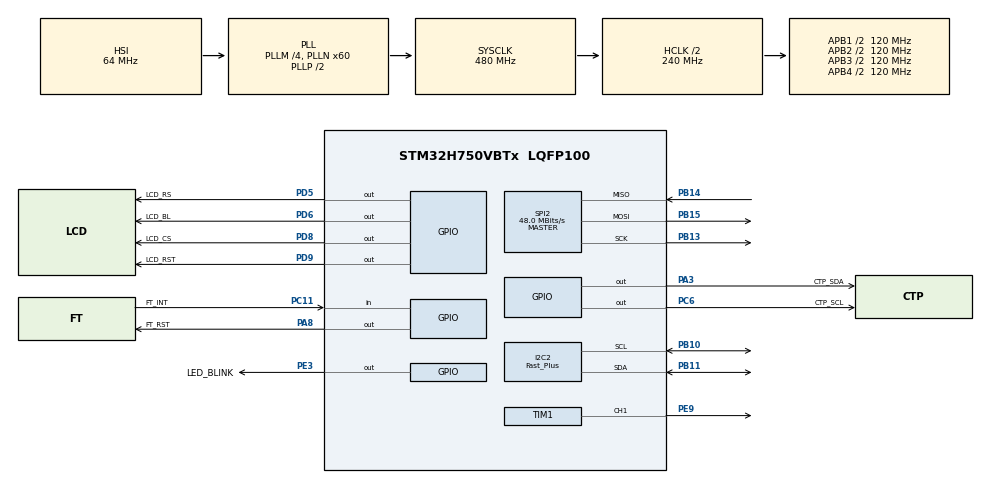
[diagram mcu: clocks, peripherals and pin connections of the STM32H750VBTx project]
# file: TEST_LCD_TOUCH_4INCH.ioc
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CORTEX_M7.AccessPermission_S-Cortex_Memory_Protection_Unit_Region1_Settings_S=MPU_REGION_FULL_ACCESS
CORTEX_M7.AccessPermission_Spec=MPU_REGION_FULL_ACCESS
CORTEX_M7.BaseAddress_S-Cortex_Memory_Protection_Unit_Region1_Settings_S=0x90000000
CORTEX_M7.BaseAddress_Spec=0x90000000
CORTEX_M7.CPU_DCache=Enabled
CORTEX_M7.CPU_ICache=Enabled
CORTEX_M7.Enable_S-Cortex_Memory_Protection_Unit_Region1_Settings_S=MPU_REGION_ENABLE
CORTEX_M7.IsBufferable_S-Cortex_Memory_Protection_Unit_Region1_Settings_S=MPU_ACCESS_BUFFERABLE
CORTEX_M7.IsBufferable_Spec=MPU_ACCESS_BUFFERABLE
CORTEX_M7.IsCacheable_S-Cortex_Memory_Protection_Unit_Region1_Settings_S=MPU_ACCESS_CACHEABLE
CORTEX_M7.IsCacheable_Spec=MPU_ACCESS_CACHEABLE
CORTEX_M7.IsShareable_Spec=MPU_ACCESS_NOT_SHAREABLE
CORTEX_M7.Size_S-Cortex_Memory_Protection_Unit_Region1_Settings_S=MPU_REGION_SIZE_1MB
CORTEX_M7.Size_Spec=MPU_REGION_SIZE_8MB
CORTEX_M7.SubRegionDisable_S-Cortex_Memory_Protection_Unit_Region1_Settings_S=0
CORTEX_M7.SubRegionDisable_Spec=0
CORTEX_M7.default_mode_Activation=1
Dma.Request0=SPI2_TX
Dma.SPI2_TX.0.Direction=DMA_MEMORY_TO_PERIPH
Dma.SPI2_TX.0.EventEnable=DISABLE
Dma.SPI2_TX.0.FIFOMode=DMA_FIFOMODE_DISABLE
Dma.SPI2_TX.0.Instance=DMA1_Stream0
Dma.SPI2_TX.0.MemDataAlignment=DMA_MDATAALIGN_BYTE
Dma.SPI2_TX.0.MemInc=DMA_MINC_ENABLE
Dma.SPI2_TX.0.Mode=DMA_NORMAL
Dma.SPI2_TX.0.PeriphDataAlignment=DMA_PDATAALIGN_BYTE
Dma.SPI2_TX.0.PeriphInc=DMA_PINC_DISABLE
Dma.SPI2_TX.0.Polarity=HAL_DMAMUX_REQ_GEN_RISING
Dma.SPI2_TX.0.Priority=DMA_PRIORITY_VERY_HIGH
Dma.SPI2_TX.0.RequestNumber=1
Dma.SPI2_TX.0.SignalID=NONE
Dma.SPI2_TX.0.SyncEnable=DISABLE
Dma.SPI2_TX.0.SyncPolarity=HAL_DMAMUX_SYNC_NO_EVENT
Dma.SPI2_TX.0.SyncRequestNumber=1
Dma.SPI2_TX.0.SyncSignalID=NONE
FREERTOS.Tasks01=Task_UI,24,4096,UI_Task_Func,Default,NULL,Dynamic,NULL,NULL;Task_Robot,40,2048,RobotControlTask,Default,NULL,Dynamic,NULL,NULL
FREERTOS.configTOTAL_HEAP_SIZE=65536
FREERTOS.configUSE_NEWLIB_REENTRANT=1
I2C2.I2C_Speed_Mode=I2C_Fast_Plus
I2C2.Timing=0x0050174F
Mcu.Family=STM32H7
Mcu.Name=STM32H750VBTx
Mcu.Package=LQFP100
NVIC.DMA1_Stream0_IRQn=true\:5\:0\:false\:false\:true\:true\:false\:true\:true
NVIC.PriorityGroup=NVIC_PRIORITYGROUP_4
NVIC.SPI2_IRQn=true\:5\:0\:false\:false\:true\:true\:false\:true\:true
NVIC.TIM6_DAC_IRQn=true\:5\:0\:true\:false\:true\:false\:false\:true\:true
NVIC.TimeBase=TIM6_DAC_IRQn
NVIC.TimeBaseIP=TIM6
PA13\ (JTMS/SWDIO).Mode=Serial_Wire
PA13\ (JTMS/SWDIO).Signal=DEBUG_JTMS-SWDIO
PA14\ (JTCK/SWCLK).Mode=Serial_Wire
PA14\ (JTCK/SWCLK).Signal=DEBUG_JTCK-SWCLK
PA3.GPIO_Label=CTP_SDA
PA3.GPIO_PuPd=GPIO_PULLUP
PA3.GPIO_Speed=GPIO_SPEED_FREQ_VERY_HIGH
PA3.PinState=GPIO_PIN_SET
PA3.Signal=GPIO_Output
PA8.GPIO_Label=FT_RST
PA8.GPIO_PuPd=GPIO_NOPULL
PA8.PinState=GPIO_PIN_SET
PA8.Signal=GPIO_Output
PB10.GPIO_Pu=GPIO_PULLUP
PB10.GPIO_Speed=GPIO_SPEED_FREQ_VERY_HIGH
PB10.Mode=I2C
PB10.Signal=I2C2_SCL
PB11.GPIO_Pu=GPIO_PULLUP
PB11.GPIO_Speed=GPIO_SPEED_FREQ_VERY_HIGH
PB11.Mode=I2C
PB11.Signal=I2C2_SDA
PB13.GPIO_Speed=GPIO_SPEED_FREQ_VERY_HIGH
PB13.Mode=Full_Duplex_Master
PB13.Signal=SPI2_SCK
PB14.GPIO_Speed=GPIO_SPEED_FREQ_VERY_HIGH
PB14.Mode=Full_Duplex_Master
PB14.Signal=SPI2_MISO
PB15.GPIO_Speed=GPIO_SPEED_FREQ_VERY_HIGH
PB15.Mode=Full_Duplex_Master
PB15.Signal=SPI2_MOSI
PC11.GPIO_Label=FT_INT
PC11.GPIO_PuPd=GPIO_PULLUP
PC11.Signal=GPIO_Input
PC6.GPIO_Label=CTP_SCL
PC6.GPIO_PuPd=GPIO_PULLUP
PC6.GPIO_Speed=GPIO_SPEED_FREQ_VERY_HIGH
PC6.PinState=GPIO_PIN_SET
PC6.Signal=GPIO_Output
PD5.GPIO_Label=LCD_RS
PD5.GPIO_Speed=GPIO_SPEED_FREQ_VERY_HIGH
PD5.PinState=GPIO_PIN_SET
PD5.Signal=GPIO_Output
PD6.GPIO_Label=LCD_BL
PD6.GPIO_Speed=GPIO_SPEED_FREQ_VERY_HIGH
PD6.PinState=GPIO_PIN_SET
PD6.Signal=GPIO_Output
PD8.GPIO_Label=LCD_CS
PD8.GPIO_Speed=GPIO_SPEED_FREQ_VERY_HIGH
PD8.PinState=GPIO_PIN_SET
PD8.Signal=GPIO_Output
PD9.GPIO_Label=LCD_RST
PD9.GPIO_Speed=GPIO_SPEED_FREQ_VERY_HIGH
PD9.PinState=GPIO_PIN_SET
PD9.Signal=GPIO_Output
PE3.GPIO_Label=LED_BLINK
PE3.Signal=GPIO_Output
PE9.Signal=S_TIM1_CH1
PH0-OSC_IN\ (PH0).Mode=HSE-External-Oscillator
PH0-OSC_IN\ (PH0).Signal=RCC_OSC_IN
PH1-OSC_OUT\ (PH1).Mode=HSE-External-Oscillator
PH1-OSC_OUT\ (PH1).Signal=RCC_OSC_OUT
ProjectManager.HeapSize=0x200
ProjectManager.StackSize=0x400
ProjectManager.TargetToolchain=STM32CubeIDE
RCC.ADCFreq_Value=129000000
RCC.APB1Freq_Value=120000000
RCC.APB2Freq_Value=120000000
RCC.APB3Freq_Value=120000000
RCC.APB4Freq_Value=120000000
RCC.CortexFreq_Value=480000000
RCC.D1PPRE=RCC_APB3_DIV2
RCC.D2PPRE1=RCC_APB1_DIV2
RCC.D2PPRE2=RCC_APB2_DIV2
RCC.D3PPRE=RCC_APB4_DIV2
RCC.DIVM1=4
RCC.DIVN1=60
RCC.DIVQ1=5
RCC.HCLKFreq_Value=240000000
RCC.HPRE=RCC_HCLK_DIV2
RCC.PLL2FRACN=0
RCC.PLL3FRACN=0
RCC.PLLFRACN=0
RCC.SYSCLKFreq_VALUE=480000000
RCC.SYSCLKSource=RCC_SYSCLKSOURCE_PLLCLK
RCC.USBFreq_Value=192000000
SH.S_TIM1_CH1.0=TIM1_CH1,PWM Generation1 CH1
SPI2.BaudRatePrescaler=SPI_BAUDRATEPRESCALER_4
SPI2.CLKPhase=SPI_PHASE_1EDGE
SPI2.CLKPolarity=SPI_POLARITY_LOW
SPI2.CalculateBaudRate=48.0 MBits/s
SPI2.DataSize=SPI_DATASIZE_8BIT
SPI2.Direction=SPI_DIRECTION_2LINES
SPI2.Mode=SPI_MODE_MASTER
SPI2.VirtualType=VM_MASTER
TIM1.AutoReloadPreload=TIM_AUTORELOAD_PRELOAD_ENABLE
TIM1.Channel-PWM\ Generation1\ CH1=TIM_CHANNEL_1
TIM1.Period=19999
TIM1.Prescaler=239
VP_FREERTOS_VS_CMSIS_V2.Mode=CMSIS_V2
VP_MEMORYMAP_VS_MEMORYMAP.Mode=CurAppReg
VP_SYS_VS_tim6.Mode=TIM6
VP_TIM1_VS_ClockSourceINT.Mode=Internal
board=custom

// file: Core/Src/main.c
/* USER CODE BEGIN Header */
/**
  ******************************************************************************
  * @file           : main.c
  * @brief          : Main program body
  ******************************************************************************
  * @attention
  *
  * Copyright (c) 2025 STMicroelectronics.
  * All rights reserved.
  *
  * This software is licensed under terms that can be found in the LICENSE file
  * in the root directory of this software component.
  * If no LICENSE file comes with this software, it is provided AS-IS.
  *
  ******************************************************************************
  */
/* USER CODE END Header */
#include "main.h"
#include "cmsis_os.h"
#include "dma.h"
#include "i2c.h"
#include "spi.h"
#include "tim.h"
#include "gpio.h"

/* USER CODE BEGIN Includes */
#include "lcd.h"
#include "touch.h"
#include "lvgl.h"          // Thư viện lõi
#include "lv_port_disp.h"  // Cấu hình màn hình
#include "lv_examples.h"  // Ví dụ LVGL
#include "lv_port_indev.h" // Cấu hình input device
#include "ui.h"           // Giao diện người dùng tùy chỉnh
#include <stdbool.h>
/* USER CODE END Includes */

/* USER CODE BEGIN PTD */
#define USE_LV_PORT_DISP 1
/* USER CODE END PTD */

void SystemClock_Config(void);
static void MPU_Config(void);
void MX_FREERTOS_Init(void);

/* USER CODE BEGIN 0 */
extern TIM_HandleTypeDef htim1;
/* USER CODE BEGIN 0 */

// Biến đếm số lần bấm
static int cnt = 0;
static lv_obj_t * label;

/* Hàm xử lý sự kiện khi bấm nút */
static void event_handler(lv_event_t * e)
{
    lv_event_code_t code = lv_event_get_code(e);

    // Nếu nhận được sự kiện CLICK (Bấm và nhả)
    if(code == LV_EVENT_CLICKED) {
        cnt++;

        // Cập nhật text cho Label
        lv_label_set_text_fmt(label, "Da Bam: %d", cnt);

        // (Tùy chọn) In log ra debug
        // printf("Button clicked: %d\n", cnt);
    }
}

bool is_Auto_Running = false;
int current_angle = 0;

// Hàm điều khiển servo
void Set_Servo_Angle(int angle)
{
    if(angle < 0) angle = 0;
    if(angle > 180) angle = 180;

    // Tính toán giá trị CCR dựa trên góc
    // Giả sử 0 độ tương ứng với CCR = 1000 và 180 độ tương ứng với CCR = 2000
    uint32_t pulse = 500 + (angle * 2000 / 180);

    __HAL_TIM_SET_COMPARE(&htim1, TIM_CHANNEL_1, pulse);
    current_angle = angle;
}

void Auto_Mode_1()
{
   Set_Servo_Angle(30);
   osDelay(500);
   Set_Servo_Angle(150);
   osDelay(500);
   Set_Servo_Angle(90);
}

void Auto_Mode_2()
{
   Set_Servo_Angle(90);
   osDelay(500);
   Set_Servo_Angle(0);
   osDelay(500);
   Set_Servo_Angle(180);
   osDelay(500);
}

void Auto_Mode_3()
{
   for(int angle = 0; angle <= 180; angle += 10)
   {
       Set_Servo_Angle(angle);
       osDelay(200);
   }
   for(int angle = 180; angle >= 0; angle -= 10)
   {
       Set_Servo_Angle(angle);
       osDelay(200);
   }
}

void Write_Led_PE3(int state)
{
    // Mạch WeAct: Mức 0 là SÁNG, Mức 1 là TẮT (Ngược đời tí)
    // Nếu sếp dùng LED ngoài cắm dây thì ngược lại (1 Sáng, 0 Tắt)
    // Sếp cứ test thử, nếu ngược thì đảo chỗ GPIO_PIN_RESET/SET lại là được.

    if (state == 1) {
        HAL_GPIO_WritePin(LED_BLINK_GPIO_Port, LED_BLINK_Pin, GPIO_PIN_RESET); // Bật LED (Active Low)
    } else {
        HAL_GPIO_WritePin(LED_BLINK_GPIO_Port, LED_BLINK_Pin, GPIO_PIN_SET);   // Tắt LED
    }
}

/* USER CODE END 0 */

int main(void)
{

  /* MPU Configuration--------------------------------------------------------*/
  MPU_Config();

  /* Enable the CPU Cache */

  /* Enable I-Cache---------------------------------------------------------*/
  SCB_EnableICache();

  /* Enable D-Cache---------------------------------------------------------*/
  SCB_EnableDCache();

  /* MCU Configuration--------------------------------------------------------*/

  /* Reset of all peripherals, Initializes the Flash interface and the Systick. */
  HAL_Init();

  /* Configure the system clock */
  SystemClock_Config();

  /* Initialize all configured peripherals */
  MX_GPIO_Init();
  MX_DMA_Init();
  MX_SPI2_Init();
  MX_I2C2_Init();
  MX_TIM1_Init();
  /* USER CODE BEGIN 2 */
    HAL_TIM_PWM_Start(&htim1, TIM_CHANNEL_1); // Bắt đầu PWM cho servo
  __HAL_TIM_MOE_ENABLE(&htim1);
  lv_init();               // Khởi tạo LVGL
  lv_port_disp_init();     // Khởi tạo màn hình
  lv_port_indev_init();    // Khởi tạo thiết bị nhập (cảm ứng)
  ui_init();              // Khởi tạo giao diện người dùng
  //lv_example_keyboard_1();   // Chạy ví dụ LVGL
  //lv_example_btn_11();      // Chạy ví dụ LVGL
  //lv_example_menu_1();      // Chạy ví dụ LVGL
  //lv_example_tabview_1();   // Chạy ví dụ LVGL
  //lv_example_spinner_1();  // Chạy ví dụ LVGL
  //lv_example_button_3();  // Chạy ví dụ LVGL

  /* USER CODE END 2 */

  /* Init scheduler */
  osKernelInitialize();  /* Call init function for freertos objects (in cmsis_os2.c) */
  MX_FREERTOS_Init();

  /* Start scheduler */
  osKernelStart();

  /* We should never get here as control is now taken by the scheduler */

  /* Infinite loop */
  /* USER CODE BEGIN WHILE */
  while (1)
  {
  //  lv_timer_handler(); // Xử lý LVGL
  //  HAL_Delay(5);
    /* USER CODE END WHILE */

  }
}

void SystemClock_Config(void)
{
  RCC_OscInitTypeDef RCC_OscInitStruct = {0};
  RCC_ClkInitTypeDef RCC_ClkInitStruct = {0};

  /** Supply configuration update enable
  */
  HAL_PWREx_ConfigSupply(PWR_LDO_SUPPLY);

  /** Configure the main internal regulator output voltage
  */
  __HAL_PWR_VOLTAGESCALING_CONFIG(PWR_REGULATOR_VOLTAGE_SCALE0);

  while(!__HAL_PWR_GET_FLAG(PWR_FLAG_VOSRDY)) {}

  /** Initializes the RCC Oscillators according to the specified parameters
  * in the RCC_OscInitTypeDef structure.
  */
  RCC_OscInitStruct.OscillatorType = RCC_OSCILLATORTYPE_HSI;
  RCC_OscInitStruct.HSIState = RCC_HSI_DIV1;
  RCC_OscInitStruct.HSICalibrationValue = RCC_HSICALIBRATION_DEFAULT;
  RCC_OscInitStruct.PLL.PLLState = RCC_PLL_ON;
  RCC_OscInitStruct.PLL.PLLSource = RCC_PLLSOURCE_HSI;
  RCC_OscInitStruct.PLL.PLLM = 4;
  RCC_OscInitStruct.PLL.PLLN = 60;
  RCC_OscInitStruct.PLL.PLLP = 2;
  RCC_OscInitStruct.PLL.PLLQ = 5;
  RCC_OscInitStruct.PLL.PLLR = 2;
  RCC_OscInitStruct.PLL.PLLRGE = RCC_PLL1VCIRANGE_3;
  RCC_OscInitStruct.PLL.PLLVCOSEL = RCC_PLL1VCOWIDE;
  RCC_OscInitStruct.PLL.PLLFRACN = 0;
  if (HAL_RCC_OscConfig(&RCC_OscInitStruct) != HAL_OK)
  {
    Error_Handler();
  }

  /** Initializes the CPU, AHB and APB buses clocks
  */
  RCC_ClkInitStruct.ClockType = RCC_CLOCKTYPE_HCLK|RCC_CLOCKTYPE_SYSCLK
                              |RCC_CLOCKTYPE_PCLK1|RCC_CLOCKTYPE_PCLK2
                              |RCC_CLOCKTYPE_D3PCLK1|RCC_CLOCKTYPE_D1PCLK1;
  RCC_ClkInitStruct.SYSCLKSource = RCC_SYSCLKSOURCE_PLLCLK;
  RCC_ClkInitStruct.SYSCLKDivider = RCC_SYSCLK_DIV1;
  RCC_ClkInitStruct.AHBCLKDivider = RCC_HCLK_DIV2;
  RCC_ClkInitStruct.APB3CLKDivider = RCC_APB3_DIV2;
  RCC_ClkInitStruct.APB1CLKDivider = RCC_APB1_DIV2;
  RCC_ClkInitStruct.APB2CLKDivider = RCC_APB2_DIV2;
  RCC_ClkInitStruct.APB4CLKDivider = RCC_APB4_DIV2;

  if (HAL_RCC_ClockConfig(&RCC_ClkInitStruct, FLASH_LATENCY_4) != HAL_OK)
  {
    Error_Handler();
  }
}

 /* MPU Configuration */

void MPU_Config(void)
{
  MPU_Region_InitTypeDef MPU_InitStruct = {0};

  /* Disables the MPU */
  HAL_MPU_Disable();

  /** Initializes and configures the Region and the memory to be protected
  */
  MPU_InitStruct.Enable = MPU_REGION_ENABLE;
  MPU_InitStruct.Number = MPU_REGION_NUMBER0;
  MPU_InitStruct.BaseAddress = 0x90000000;
  MPU_InitStruct.Size = MPU_REGION_SIZE_8MB;
  MPU_InitStruct.SubRegionDisable = 0;
  MPU_InitStruct.TypeExtField = MPU_TEX_LEVEL0;
  MPU_InitStruct.AccessPermission = MPU_REGION_FULL_ACCESS;
  MPU_InitStruct.DisableExec = MPU_INSTRUCTION_ACCESS_DISABLE;
  MPU_InitStruct.IsShareable = MPU_ACCESS_NOT_SHAREABLE;
  MPU_InitStruct.IsCacheable = MPU_ACCESS_CACHEABLE;
  MPU_InitStruct.IsBufferable = MPU_ACCESS_BUFFERABLE;

  HAL_MPU_ConfigRegion(&MPU_InitStruct);

  /** Initializes and configures the Region and the memory to be protected
  */
  MPU_InitStruct.Number = MPU_REGION_NUMBER1;
  MPU_InitStruct.Size = MPU_REGION_SIZE_1MB;
  MPU_InitStruct.DisableExec = MPU_INSTRUCTION_ACCESS_ENABLE;

  HAL_MPU_ConfigRegion(&MPU_InitStruct);
  /* Enables the MPU */
  HAL_MPU_Enable(MPU_PRIVILEGED_DEFAULT);

}

void HAL_TIM_PeriodElapsedCallback(TIM_HandleTypeDef *htim)
{
  if (htim->Instance == TIM6)
  {
    HAL_IncTick();
    lv_tick_inc(1);
  }
}

void Error_Handler(void)
{
  __disable_irq();
  while (1)
  {
  }
}

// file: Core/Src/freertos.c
/* USER CODE BEGIN Header */
/**
  ******************************************************************************
  * File Name          : freertos.c
  * Description        : Code for freertos applications
  ******************************************************************************
  * @attention
  *
  * Copyright (c) 2026 STMicroelectronics.
  * All rights reserved.
  *
  * This software is licensed under terms that can be found in the LICENSE file
  * in the root directory of this software component.
  * If no LICENSE file comes with this software, it is provided AS-IS.
  *
  ******************************************************************************
  */
/* USER CODE END Header */

#include "FreeRTOS.h"
#include "task.h"
#include "main.h"
#include "cmsis_os.h"

/* USER CODE BEGIN Includes */
#include <stdbool.h>
#include <stdlib.h>
#include <time.h>
#include "lvgl.h"
// UI labels để update counter hiển thị
extern lv_obj_t * ui_NumSP1;
extern lv_obj_t * ui_NumSP2;
extern lv_obj_t * ui_NumSP3;/* USER CODE END Includes */

/* USER CODE BEGIN PTD */
int rnd(int a, int b) {
    return rand() % (b - a + 1) + a;
}
/* USER CODE END PTD */

/* USER CODE BEGIN PM */
extern void Set_Servo_Angle(int angle);
extern int current_angle;
extern bool is_Auto_Running;extern void Set_Servo_Angle(int angle);
extern int current_angle;
extern bool is_Auto_Running;
extern void Write_Led_PE3(int state);
extern void Auto_Mode_1();
extern void Auto_Mode_2();
extern void Auto_Mode_3();

bool start_auto = false;
int32_t Angle;

int counter_mode1 = 0;
int counter_mode2 = 0;
int counter_mode3 = 0;

// State tracking để increment counter chỉ 1 lần khi mode hoàn thành
static int last_auto_mode_1 = false;
static int last_auto_mode_2 = false;
static int last_auto_mode_3 = false;
/* USER CODE END PM */

/* Definitions for Task_UI */
osThreadId_t Task_UIHandle;
const osThreadAttr_t Task_UI_attributes = {
  .name = "Task_UI",
  .stack_size = 4096 * 4,
  .priority = (osPriority_t) osPriorityHigh,  // Tăng priority để UI luôn được xử lý
};
/* Definitions for Task_Robot */
osThreadId_t Task_RobotHandle;
const osThreadAttr_t Task_Robot_attributes = {
  .name = "Task_Robot",
  .stack_size = 2048 * 4,
  .priority = (osPriority_t) osPriorityNormal,  // Hạ xuống NORMAL để không starve UI
};

void UI_Task_Func(void *argument);
void RobotControlTask(void *argument);

void MX_FREERTOS_Init(void); /* (MISRA C 2004 rule 8.1) */

void MX_FREERTOS_Init(void) {

  /* Create the thread(s) */
  /* creation of Task_UI */
  Task_UIHandle = osThreadNew(UI_Task_Func, NULL, &Task_UI_attributes);

  /* creation of Task_Robot */
  Task_RobotHandle = osThreadNew(RobotControlTask, NULL, &Task_Robot_attributes);

}

void UI_Task_Func(void *argument)
{
  /* USER CODE BEGIN UI_Task_Func */
  /* Infinite loop */
  static int last_counter_mode1 = -1, last_counter_mode2 = -1, last_counter_mode3 = -1;
  static int last_angle = -1;
  static lv_obj_t * angle_label = NULL;

  for(;;)
  {
    lv_timer_handler(); // Xử lý LVGL

    // Update counter labels nếu giá trị thay đổi
    if(last_counter_mode1 != counter_mode1 && ui_NumSP1)
    {
      lv_label_set_text_fmt(ui_NumSP1, "%d", counter_mode1);
      last_counter_mode1 = counter_mode1;
    }
    if(last_counter_mode2 != counter_mode2 && ui_NumSP2)
    {
      lv_label_set_text_fmt(ui_NumSP2, "%d", counter_mode2);
      last_counter_mode2 = counter_mode2;
    }
    if(last_counter_mode3 != counter_mode3 && ui_NumSP3)
    {
      lv_label_set_text_fmt(ui_NumSP3, "%d", counter_mode3);
      last_counter_mode3 = counter_mode3;
    }

    // Cập nhật angle hiển thị (nếu có label angle)
    // Note: Cần UI designer add label cho current_angle
    // For now, ta chỉ track giá trị
    if(last_angle != current_angle)
    {
      last_angle = current_angle;
      // TODO: Cập nhật UI label nếu có
    }

    osDelay(5);
  }
  /* USER CODE END UI_Task_Func */
}

/* USER CODE BEGIN Header_RobotControlTask */
void RobotControlTask(void *argument)
{
  /* USER CODE BEGIN RobotControlTask */

  // Bật PWM nếu cần (như bài trước em nhắc)
  // HAL_TIM_PWM_Start(&htim1, TIM_CHANNEL_1);

  /* Infinite loop */
  for(;;)
  {
    // Cập nhật trạng thái chạy
    if(start_auto)
      is_Auto_Running = true;
    else
      is_Auto_Running = false;

    // --- LOGIC ĐẾM CHU KỲ ---
    if(is_Auto_Running)
    {
      int product = rnd(1, 3);
       if(product == 1) // nếu là sản phẩm 1 thì chạy mode 1, tương tự cho 2 và 3
       {
          // 1. Robot thực hiện hành động (Hàm này có osDelay bên trong nên sẽ tốn thời gian)
          Auto_Mode_1();

          // 2. Chạy xong hàm trên nghĩa là xong 1 chu kỳ -> Cộng luôn!
          counter_mode1++;
       }
       else if(product == 2)
       {
          Auto_Mode_2();
          counter_mode2++;
       }
       else if(product == 3)
       {
          Auto_Mode_3();
          counter_mode3++;
       }

       // Thêm 1 chút delay nhỏ giữa các chu kỳ nếu cần
       osDelay(100);
    }
    else
    {
       // Chế độ Manual
       Set_Servo_Angle(Angle);
       osDelay(20);
    }
  }
  /* USER CODE END RobotControlTask */
}
